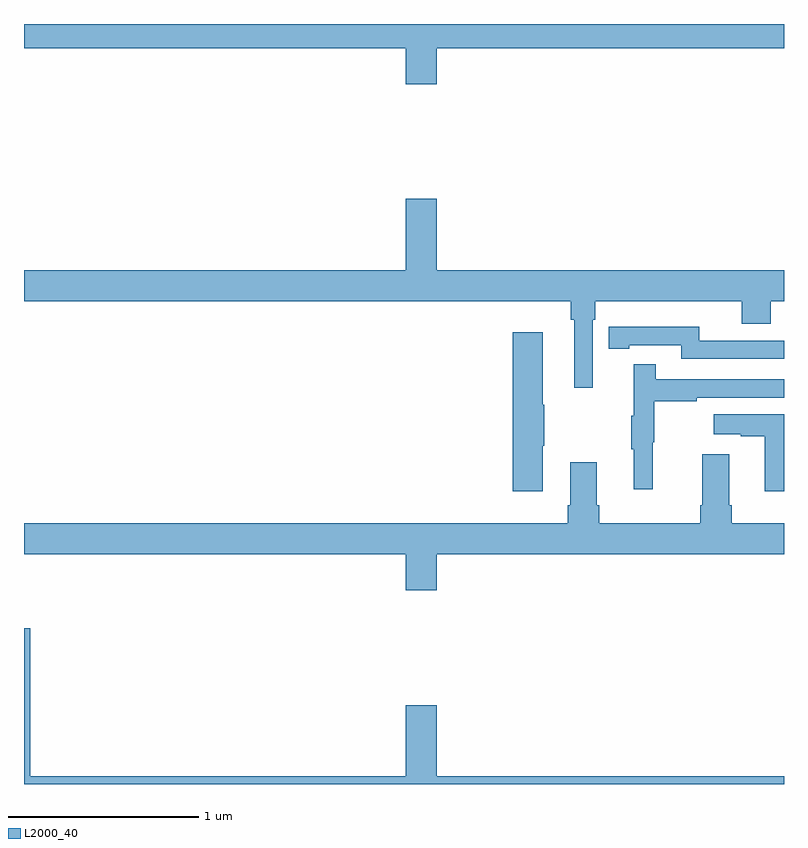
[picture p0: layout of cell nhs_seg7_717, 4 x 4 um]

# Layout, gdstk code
import gdstk
lib = gdstk.Library(unit=1e-6, precision=1e-09)
def P(c, l, *ps):  # polygons
    for p in ps: c.add(gdstk.Polygon(p, *l))
L2000_40 = (2000, 40)

nhs_seg7_717 = lib.new_cell('nhs_seg7_717')
P(nhs_seg7_717, L2000_40, [(165.172,1077.872),(167,1077.872),(167,1078),(163,1078),(163,1077.872),(165.008,1077.872),(165.008,1077.684),(165.172,1077.684)],
  [(165.993,1076.444),(166.007,1076.444),(166.007,1076.54),(166.778,1076.54),(166.778,1076.423),(166.931,1076.423),(166.931,1076.54),(167,1076.54),(167,1076.704),(165.172,1076.704),(165.172,1077.079),(165.008,1077.079),(165.008,1076.704),(163,1076.704),(163,1076.54),(165.877,1076.54),(165.877,1076.444),(165.896,1076.444),(165.896,1076.085),(165.993,1076.085)],
  [(167,1076.334),(166.554,1076.334),(166.554,1076.407),(166.186,1076.407),(166.186,1076.406),(166.078,1076.406),(166.078,1076.29),(166.186,1076.29),(166.186,1076.31),(166.458,1076.31),(166.458,1076.238),(167,1076.238)],
  [(165.73,1075.78),(165.738,1075.78),(165.738,1075.997),(165.73,1075.997),(165.73,1076.377),(165.572,1076.377),(165.572,1075.542),(165.73,1075.542)],
  [(166.31,1075.8),(166.318,1075.8),(166.318,1076.014),(166.541,1076.014),(166.541,1076.034),(167,1076.034),(167,1076.13),(166.325,1076.13),(166.325,1076.209),(166.208,1076.209),(166.208,1075.937),(166.197,1075.937),(166.197,1075.763),(166.208,1075.763),(166.208,1075.551),(166.31,1075.551)],
  [(167,1075.945),(166.629,1075.945),(166.629,1075.841),(166.772,1075.841),(166.772,1075.831),(166.898,1075.831),(166.898,1075.542),(167,1075.542)],
  [(163,1075.208),(165.008,1075.208),(165.008,1075.02),(165.172,1075.02),(165.172,1075.208),(167,1075.208),(167,1075.372),(166.724,1075.372),(166.724,1075.468),(166.711,1075.468),(166.711,1075.735),(166.571,1075.735),(166.571,1075.468),(166.559,1075.468),(166.559,1075.372),(166.028,1075.372),(166.028,1075.468),(166.015,1075.468),(166.015,1075.693),(165.875,1075.693),(165.875,1075.468),(165.863,1075.468),(165.863,1075.372),(163,1075.372)],
  [(167,1074.04),(165.172,1074.04),(165.172,1074.415),(165.008,1074.415),(165.008,1074.04),(163.034,1074.04),(163.034,1074.82),(163,1074.82),(163,1074),(167,1074)])

lib.write_gds('nhs_seg7_717.gds')
